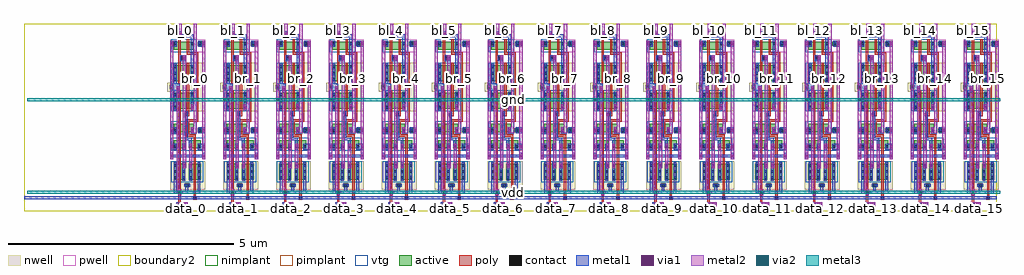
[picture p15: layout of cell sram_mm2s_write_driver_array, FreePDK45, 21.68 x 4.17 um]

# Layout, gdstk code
import gdstk
lib = gdstk.Library(unit=1e-6, precision=5e-10)
def R(c, l, rs):  # rectangles x0, y0, x1, y1
    for r in rs: c.add(gdstk.rectangle(r[:2], r[2:], *l))
def A(c, l, x, y, w, h, nx, ny, dx, dy):  # array of equal rectangles
    R(c, l, [(x+i*dx, y+j*dy, x+i*dx+w, y+j*dy+h) for i in range(nx) for j in range(ny)])
active = (1, 0)
pwell = (2, 0)
nwell = (3, 0)
nimplant = (4, 0)
pimplant = (5, 0)
vtg = (6, 0)
poly = (9, 0)
contact = (10, 0)
metal1 = (11, 0)
via1 = (12, 0)
metal2 = (13, 0)
via2 = (14, 0)
metal3 = (15, 0)
boundary2 = (239, 0)

write_driver = lib.new_cell('write_driver')
R(write_driver, active, [(0.2925,0.535,0.3825,0.625), (0.04,0.705,0.115,1.065), (0.04,0.705,0.115,1.065), (0.04,0.705,0.3,1.065), (0.225,0.705,0.3,1.065), (0.225,0.705,0.3,1.065), (0.38,0.705,0.455,1.065), (0.38,0.705,0.455,1.065), (0.38,0.705,0.64,1.065), (0.565,0.705,0.64,1.065), (0.565,0.705,0.64,1.065), (0.04,0.71,0.115,1.065), (0.225,0.71,0.3,1.065), (0.38,0.71,0.455,1.065), (0.565,0.71,0.64,1.065), (0.04,1.4,0.115,1.58), (0.04,1.4,0.115,1.58), (0.04,1.4,0.3,1.58), (0.04,1.4,0.115,1.475), (0.225,1.4,0.3,1.58), (0.225,1.4,0.3,1.58), (0.225,1.4,0.3,1.475), (0.38,1.4,0.455,1.58), (0.38,1.4,0.455,1.58), (0.38,1.4,0.64,1.58), (0.38,1.4,0.455,1.475), (0.565,1.4,0.64,1.58), (0.565,1.4,0.64,1.58), (0.565,1.4,0.64,1.475), (0.5725,1.7575,0.6625,1.8475), (0.04,1.765,0.115,1.945), (0.04,1.765,0.115,1.945), (0.04,1.765,0.115,1.84), (0.04,1.765,0.49,1.945), (0.1975,1.765,0.3375,1.945), (0.415,1.765,0.49,1.945), (0.415,1.765,0.49,1.945), (0.415,1.765,0.49,1.84), (0.04,2.28,0.115,2.64), (0.04,2.28,0.115,2.64), (0.04,2.28,0.115,2.635), (0.04,2.28,0.49,2.64), (0.1975,2.28,0.3375,2.64), (0.415,2.28,0.49,2.64), (0.415,2.28,0.49,2.64), (0.415,2.28,0.49,2.635), (-0.045,2.72,0.045,2.81), (0.04,2.8925,0.115,3.2525), (0.04,2.8925,0.115,3.2525), (0.04,2.8925,0.49,3.2525), (0.1925,2.8925,0.3325,3.2525), (0.415,2.8925,0.49,3.2525), (0.415,2.8925,0.49,3.2525), (0.04,2.8975,0.115,3.2525), (0.415,2.8975,0.49,3.2525), (0.04,3.5875,0.115,3.7675), (0.04,3.5875,0.115,3.7675), (0.04,3.5875,0.49,3.7675), (0.1925,3.5875,0.3325,3.7675), (0.415,3.5875,0.49,3.7675), (0.415,3.5875,0.49,3.7675), (0.575,3.685,0.665,3.775), (0.04,3.6925,0.115,3.7675), (0.415,3.6925,0.49,3.7675)])
R(write_driver, pwell, [(-0.035,1.345,0.74,2), (-0.015,1.345,0.355,1.635), (0.325,1.345,0.695,1.635), (0.5175,1.7025,0.7175,1.9025), (-0.015,1.71,0.545,2), (-0.035,3.5325,0.74,3.83), (-0.015,3.5325,0.545,3.8225), (0.52,3.63,0.72,3.83)])
R(write_driver, nwell, [(-0.035,0.48,0.74,1.12), (0.2375,0.48,0.4375,0.68), (-0.015,0.65,0.355,1.12), (0.325,0.65,0.695,1.12), (-0.035,2.225,0.74,3.3), (-0.015,2.225,0.545,2.695), (-0.1,2.665,0.1,2.865), (-0.015,2.8375,0.545,3.3075)])
R(write_driver, nimplant, [(0.2925,0.535,0.3825,0.625), (0.04,1.4,0.3,1.58), (0.38,1.4,0.64,1.58), (0.04,1.765,0.49,1.945), (-0.045,2.72,0.045,2.81), (0.04,3.5875,0.49,3.7675)])
R(write_driver, pimplant, [(0.04,0.705,0.3,1.065), (0.38,0.705,0.64,1.065), (0.5725,1.7575,0.6625,1.8475), (0.04,2.28,0.49,2.64), (0.04,2.8925,0.49,3.2525), (0.575,3.685,0.665,3.775)])
R(write_driver, vtg, [(-0.015,0.65,0.355,1.12), (0.325,0.65,0.695,1.12), (-0.015,1.345,0.355,1.635), (0.325,1.345,0.695,1.635), (-0.015,1.71,0.545,2), (-0.015,2.225,0.545,2.695), (-0.015,2.8375,0.545,3.3075), (-0.015,3.5325,0.545,3.8225)])
R(write_driver, poly, [(0.1325,0.1325,0.2075,0.2075), (0.145,0.1375,0.195,0.65), (0.4725,0.2625,0.5475,0.3375), (0.485,0.2675,0.535,0.65), (0.145,0.65,0.195,0.705), (0.145,0.65,0.195,1.12), (0.485,0.65,0.535,0.705), (0.485,0.65,0.535,1.12), (0.145,1.065,0.195,1.12), (0.485,1.065,0.535,1.12), (0.145,1.12,0.195,1.345), (0.485,1.12,0.535,1.345), (0.145,1.345,0.195,1.635), (0.145,1.345,0.195,1.4), (0.485,1.345,0.535,1.635), (0.485,1.345,0.535,1.4), (0.145,1.58,0.195,1.635), (0.485,1.58,0.535,1.635), (0.145,1.635,0.195,1.71), (0.485,1.635,0.535,1.66), (0.335,1.66,0.535,1.71), (0.145,1.71,0.195,2), (0.145,1.71,0.195,1.765), (0.335,1.71,0.385,2), (0.335,1.71,0.385,1.765), (0.145,1.945,0.195,2), (0.335,1.945,0.385,2), (0.335,1.995,0.59,2.045), (0.54,1.995,0.59,3.4825), (0.145,2,0.195,2.225), (0.2775,2.12,0.3525,2.195), (0.335,2.12,0.385,2.225), (0.145,2.225,0.195,2.28), (0.145,2.225,0.195,2.695), (0.335,2.225,0.385,2.28), (0.335,2.225,0.385,2.695), (0.145,2.64,0.195,2.695), (0.335,2.64,0.385,2.695), (0.335,2.695,0.385,2.8375), (0.145,2.8375,0.195,2.8925), (0.145,2.8375,0.195,3.3075), (0.335,2.8375,0.385,2.8925), (0.335,2.8375,0.385,3.3075), (0.145,3.2525,0.195,3.3075), (0.335,3.2525,0.385,3.3075), (0.145,3.3075,0.195,3.5325), (0.18,3.37,0.255,3.445), (0.335,3.4825,0.59,3.5325), (0.145,3.5325,0.195,3.8225), (0.145,3.5325,0.195,3.5875), (0.335,3.5325,0.385,3.8225), (0.335,3.5325,0.385,3.5875), (0.145,3.7675,0.195,3.8225), (0.335,3.7675,0.385,3.8225)])
A(write_driver, contact, 0.045, 0.715, 0.065, 0.065, 1, 3, 0, 0.14)
A(write_driver, contact, 0.23, 0.715, 0.065, 0.065, 1, 3, 0, 0.14)
A(write_driver, contact, 0.385, 0.715, 0.065, 0.065, 1, 3, 0, 0.14)
A(write_driver, contact, 0.57, 0.715, 0.065, 0.065, 1, 3, 0, 0.14)
A(write_driver, contact, 0.045, 2.285, 0.065, 0.065, 1, 3, 0, 0.14)
A(write_driver, contact, 0.42, 2.285, 0.065, 0.065, 1, 3, 0, 0.14)
A(write_driver, contact, 0.045, 2.9025, 0.065, 0.065, 1, 3, 0, 0.14)
A(write_driver, contact, 0.42, 2.9025, 0.065, 0.065, 1, 3, 0, 0.14)
R(write_driver, contact, [(0.1375,0.1375,0.2025,0.2025), (0.4775,0.2675,0.5425,0.3325), (0.305,0.5475,0.37,0.6125), (0.045,1.405,0.11,1.47), (0.23,1.405,0.295,1.47), (0.385,1.405,0.45,1.47), (0.57,1.405,0.635,1.47), (0.045,1.77,0.11,1.835), (0.42,1.77,0.485,1.835), (0.585,1.77,0.65,1.835), (0.2825,2.125,0.3475,2.19), (-0.0325,2.7325,0.0325,2.7975), (0.185,3.375,0.25,3.44), (0.045,3.6975,0.11,3.7625), (0.42,3.6975,0.485,3.7625), (0.5875,3.6975,0.6525,3.7625)])
R(write_driver, metal1, [(0.2075,0.135,0.3425,0.2), (0.1025,0.1375,0.2375,0.2025), (0.045,0.2675,0.635,0.3325), (0.045,0.2675,0.635,0.3325), (0.045,0.3975,0.635,0.4625), (0.105,0.3975,0.24,0.4625), (0.045,0.4625,0.11,0.68), (0.3025,0.4625,0.3675,0.6125), (0.57,0.4625,0.635,0.68), (0.27,0.5475,0.405,0.6125), (0.045,0.68,0.11,1.095), (0.23,0.68,0.295,1.095), (0.385,0.68,0.45,1.095), (0.57,0.68,0.635,1.095), (0.2475,0.96,0.3125,1.095), (0.3875,0.96,0.4525,1.095), (-0.0325,1.165,0.0325,1.3), (0.6725,1.165,0.7375,1.3), (-0.035,1.2,0.74,1.265), (-0.0325,1.37,0.0325,1.505), (0.0275,1.37,0.04,1.505), (0.035,1.37,0.045,1.505), (0.045,1.37,0.11,1.505), (0.23,1.37,0.295,1.505), (0.2475,1.37,0.3125,1.505), (0.385,1.37,0.45,1.505), (0.3875,1.37,0.4525,1.505), (0.57,1.37,0.635,1.505), (0.63,1.37,0.6725,1.505), (0.6725,1.37,0.7375,1.505), (0.38,1.4525,0.445,1.5775), (0.2825,1.5775,0.3475,2.175), (0.2825,1.5775,0.445,1.6425), (-0.0325,1.735,0.0325,1.87), (0.0275,1.735,0.04,1.87), (0.035,1.735,0.045,1.87), (0.045,1.735,0.11,1.87), (0.4175,1.735,0.4825,1.87), (0.42,1.735,0.485,1.87), (0.585,1.735,0.65,1.87), (0.65,1.735,0.6725,1.87), (0.6725,1.735,0.7375,1.87), (0.2825,2.09,0.3475,2.225), (0.045,2.25,0.11,2.665), (0.4175,2.25,0.4825,2.385), (0.42,2.25,0.485,2.665), (0.095,2.65,0.11,2.785), (0.1075,2.65,0.1725,2.785), (0.045,2.665,0.11,2.8675), (-0.0325,2.6975,0.0325,2.8325), (0.0325,2.6975,0.175,2.8325), (0.045,2.8675,0.11,3.2825), (0.42,2.8675,0.485,3.2825), (0.42,3.2825,0.485,3.6625), (0.185,3.34,0.25,3.475), (0.2475,3.34,0.3125,3.475), (-0.0325,3.6625,0.0325,3.7975), (0.0275,3.6625,0.04,3.7975), (0.035,3.6625,0.045,3.7975), (0.045,3.6625,0.11,3.7975), (0.42,3.6625,0.485,3.7975), (0.5875,3.6625,0.6525,3.7975), (0.6525,3.6625,0.6725,3.7975), (0.6725,3.6625,0.7375,3.7975), (0.42,3.7975,0.485,3.8725), (0.15,3.8725,0.485,3.9375), (0.1525,3.8725,0.2175,4.0075)])
R(write_driver, via1, [(0.2425,0.135,0.3075,0.2), (0.14,0.3975,0.205,0.4625), (0.2475,0.995,0.3125,1.06), (0.3875,0.995,0.4525,1.06), (-0.0325,1.2,0.0325,1.265), (0.6725,1.2,0.7375,1.265), (-0.0325,1.405,0.0325,1.47), (0.2475,1.405,0.3125,1.47), (0.3875,1.405,0.4525,1.47), (0.6725,1.405,0.7375,1.47), (-0.0325,1.77,0.0325,1.835), (0.4175,1.77,0.4825,1.835), (0.6725,1.77,0.7375,1.835), (0.4175,2.285,0.4825,2.35), (0.1075,2.685,0.1725,2.75), (0.2475,3.375,0.3125,3.44), (-0.0325,3.6975,0.0325,3.7625), (0.6725,3.6975,0.7375,3.7625), (0.1525,3.9075,0.2175,3.9725)])
R(write_driver, metal2, [(0.28,0,0.35,0.14), (0.28,0,0.35,0.14), (0.1575,0.1325,0.35,0.2025), (0.2075,0.1325,0.3425,0.2025), (0.105,0.395,0.24,0.465), (0.105,0.395,0.24,0.465), (0.105,0.465,0.175,2.785), (0.245,0.96,0.315,1.095), (0.385,0.96,0.455,1.095), (0.245,1.095,0.315,1.37), (0.385,1.095,0.455,1.37), (-0.035,1.1625,0.035,3.7975), (-0.035,1.1625,0.035,3.7975), (-0.035,1.165,0.035,1.3), (0.67,1.165,0.74,3.7975), (0.67,1.165,0.74,1.3), (-0.035,1.37,0.035,1.505), (0.245,1.37,0.315,3.4675), (0.245,1.37,0.315,1.505), (0.385,1.37,0.455,1.505), (0.67,1.37,0.74,1.505), (-0.035,1.735,0.035,1.87), (0.415,1.735,0.485,1.87), (0.485,1.735,0.555,4.175), (0.485,1.735,0.555,4.175), (0.67,1.735,0.74,1.87), (0.415,2.25,0.485,2.385), (0.105,2.65,0.175,2.785), (0.245,3.34,0.315,3.475), (-0.035,3.6625,0.035,3.7975), (0.67,3.6625,0.74,3.7975), (0.15,3.8725,0.22,4.0075), (0.15,3.875,0.22,4.175), (0.15,3.875,0.22,4.175)])
R(write_driver, boundary2, [(0,0,0.705,4.175)])
write_driver.add(gdstk.Label('en', (0.3325,0.3), layer=11, texttype=0))
write_driver.add(gdstk.Label('din', (0.32,0.035), layer=13, texttype=0))
write_driver.add(gdstk.Label('vdd', (0.1725,0.4325), layer=13, texttype=0))
write_driver.add(gdstk.Label('br', (0.52,4.15), layer=13, texttype=0))
write_driver.add(gdstk.Label('bl', (0.19,4.138), layer=13, texttype=0))
write_driver.add(gdstk.Label('gnd', (-0.005,1.57), layer=13, texttype=0))
write_driver.add(gdstk.Label('din', (0.315,0.07), layer=13, texttype=0))
write_driver.add(gdstk.Label('bl', (0.185,4.025), layer=13, texttype=0))
write_driver.add(gdstk.Label('br', (0.52,2.955), layer=13, texttype=0))
write_driver.add(gdstk.Label('en', (0.34,0.3), layer=11, texttype=0))
write_driver.add(gdstk.Label('vdd', (0.1725,0.43), layer=13, texttype=0))
write_driver.add(gdstk.Label('gnd', (0,2.48), layer=13, texttype=0))

sram_mm2s_contact_18 = lib.new_cell('sram_mm2s_contact_18')
R(sram_mm2s_contact_18, metal2, [(0.0325,0,0.1025,0.135)])
R(sram_mm2s_contact_18, via2, [(0.035,0.035,0.1,0.1)])
R(sram_mm2s_contact_18, metal3, [(0,0.0325,0.135,0.1025)])
R(sram_mm2s_contact_18, boundary2, [(0,0,0.135,0.135)])

sram_mm2s_write_driver_a = lib.new_cell('sram_mm2s_write_driver_array')
R(sram_mm2s_write_driver_a, metal1, [(0,0.2675,21.615,0.3325)])
A(sram_mm2s_write_driver_a, metal2, 3.565, 0, 0.07, 0.14, 16, 1, 1.175, 0)
A(sram_mm2s_write_driver_a, metal2, 3.77, 1.735, 0.07, 2.44, 16, 1, 1.175, 0)
A(sram_mm2s_write_driver_a, metal2, 3.435, 3.875, 0.07, 0.3, 16, 1, 1.175, 0)
R(sram_mm2s_write_driver_a, metal3, [(0.0675,0.395,21.6825,0.465), (0.0675,2.445,21.6825,2.515)])
R(sram_mm2s_write_driver_a, boundary2, [(0,0,21.615,4.175)])
sram_mm2s_write_driver_a.add(gdstk.Reference(write_driver, (3.285,0)))
sram_mm2s_write_driver_a.add(gdstk.Reference(write_driver, (4.46,0)))
sram_mm2s_write_driver_a.add(gdstk.Reference(write_driver, (5.635,0)))
sram_mm2s_write_driver_a.add(gdstk.Reference(write_driver, (6.81,0)))
sram_mm2s_write_driver_a.add(gdstk.Reference(write_driver, (7.985,0)))
sram_mm2s_write_driver_a.add(gdstk.Reference(write_driver, (9.16,0)))
sram_mm2s_write_driver_a.add(gdstk.Reference(write_driver, (10.335,0)))
sram_mm2s_write_driver_a.add(gdstk.Reference(write_driver, (11.51,0)))
sram_mm2s_write_driver_a.add(gdstk.Reference(write_driver, (12.685,0)))
sram_mm2s_write_driver_a.add(gdstk.Reference(write_driver, (13.86,0)))
sram_mm2s_write_driver_a.add(gdstk.Reference(write_driver, (15.035,0)))
sram_mm2s_write_driver_a.add(gdstk.Reference(write_driver, (16.21,0)))
sram_mm2s_write_driver_a.add(gdstk.Reference(write_driver, (17.385,0)))
sram_mm2s_write_driver_a.add(gdstk.Reference(write_driver, (18.56,0)))
sram_mm2s_write_driver_a.add(gdstk.Reference(write_driver, (19.735,0)))
sram_mm2s_write_driver_a.add(gdstk.Reference(write_driver, (20.91,0)))
sram_mm2s_write_driver_a.add(gdstk.Reference(sram_mm2s_contact_18, (3.39,0.3625)))
sram_mm2s_write_driver_a.add(gdstk.Reference(sram_mm2s_contact_18, (4.565,0.3625)))
sram_mm2s_write_driver_a.add(gdstk.Reference(sram_mm2s_contact_18, (5.74,0.3625)))
sram_mm2s_write_driver_a.add(gdstk.Reference(sram_mm2s_contact_18, (6.915,0.3625)))
sram_mm2s_write_driver_a.add(gdstk.Reference(sram_mm2s_contact_18, (8.09,0.3625)))
sram_mm2s_write_driver_a.add(gdstk.Reference(sram_mm2s_contact_18, (9.265,0.3625)))
sram_mm2s_write_driver_a.add(gdstk.Reference(sram_mm2s_contact_18, (10.44,0.3625)))
sram_mm2s_write_driver_a.add(gdstk.Reference(sram_mm2s_contact_18, (11.615,0.3625)))
sram_mm2s_write_driver_a.add(gdstk.Reference(sram_mm2s_contact_18, (12.79,0.3625)))
sram_mm2s_write_driver_a.add(gdstk.Reference(sram_mm2s_contact_18, (13.965,0.3625)))
sram_mm2s_write_driver_a.add(gdstk.Reference(sram_mm2s_contact_18, (15.14,0.3625)))
sram_mm2s_write_driver_a.add(gdstk.Reference(sram_mm2s_contact_18, (16.315,0.3625)))
sram_mm2s_write_driver_a.add(gdstk.Reference(sram_mm2s_contact_18, (17.49,0.3625)))
sram_mm2s_write_driver_a.add(gdstk.Reference(sram_mm2s_contact_18, (18.665,0.3625)))
sram_mm2s_write_driver_a.add(gdstk.Reference(sram_mm2s_contact_18, (19.84,0.3625)))
sram_mm2s_write_driver_a.add(gdstk.Reference(sram_mm2s_contact_18, (21.015,0.3625)))
sram_mm2s_write_driver_a.add(gdstk.Reference(sram_mm2s_contact_18, (3.2175,2.4125)))
sram_mm2s_write_driver_a.add(gdstk.Reference(sram_mm2s_contact_18, (4.3925,2.4125)))
sram_mm2s_write_driver_a.add(gdstk.Reference(sram_mm2s_contact_18, (5.5675,2.4125)))
sram_mm2s_write_driver_a.add(gdstk.Reference(sram_mm2s_contact_18, (6.7425,2.4125)))
sram_mm2s_write_driver_a.add(gdstk.Reference(sram_mm2s_contact_18, (7.9175,2.4125)))
sram_mm2s_write_driver_a.add(gdstk.Reference(sram_mm2s_contact_18, (9.0925,2.4125)))
sram_mm2s_write_driver_a.add(gdstk.Reference(sram_mm2s_contact_18, (10.2675,2.4125)))
sram_mm2s_write_driver_a.add(gdstk.Reference(sram_mm2s_contact_18, (11.4425,2.4125)))
sram_mm2s_write_driver_a.add(gdstk.Reference(sram_mm2s_contact_18, (12.6175,2.4125)))
sram_mm2s_write_driver_a.add(gdstk.Reference(sram_mm2s_contact_18, (13.7925,2.4125)))
sram_mm2s_write_driver_a.add(gdstk.Reference(sram_mm2s_contact_18, (14.9675,2.4125)))
sram_mm2s_write_driver_a.add(gdstk.Reference(sram_mm2s_contact_18, (16.1425,2.4125)))
sram_mm2s_write_driver_a.add(gdstk.Reference(sram_mm2s_contact_18, (17.3175,2.4125)))
sram_mm2s_write_driver_a.add(gdstk.Reference(sram_mm2s_contact_18, (18.4925,2.4125)))
sram_mm2s_write_driver_a.add(gdstk.Reference(sram_mm2s_contact_18, (19.6675,2.4125)))
sram_mm2s_write_driver_a.add(gdstk.Reference(sram_mm2s_contact_18, (20.8425,2.4125)))
sram_mm2s_write_driver_a.add(gdstk.Label('data_0', (3.6,0.07), layer=13, texttype=0))
sram_mm2s_write_driver_a.add(gdstk.Label('bl_0', (3.47,4.025), layer=13, texttype=0))
sram_mm2s_write_driver_a.add(gdstk.Label('br_0', (3.805,2.955), layer=13, texttype=0))
sram_mm2s_write_driver_a.add(gdstk.Label('data_1', (4.775,0.07), layer=13, texttype=0))
sram_mm2s_write_driver_a.add(gdstk.Label('bl_1', (4.645,4.025), layer=13, texttype=0))
sram_mm2s_write_driver_a.add(gdstk.Label('br_1', (4.98,2.955), layer=13, texttype=0))
sram_mm2s_write_driver_a.add(gdstk.Label('data_2', (5.95,0.07), layer=13, texttype=0))
sram_mm2s_write_driver_a.add(gdstk.Label('bl_2', (5.82,4.025), layer=13, texttype=0))
sram_mm2s_write_driver_a.add(gdstk.Label('br_2', (6.155,2.955), layer=13, texttype=0))
sram_mm2s_write_driver_a.add(gdstk.Label('data_3', (7.125,0.07), layer=13, texttype=0))
sram_mm2s_write_driver_a.add(gdstk.Label('bl_3', (6.995,4.025), layer=13, texttype=0))
sram_mm2s_write_driver_a.add(gdstk.Label('br_3', (7.33,2.955), layer=13, texttype=0))
sram_mm2s_write_driver_a.add(gdstk.Label('data_4', (8.3,0.07), layer=13, texttype=0))
sram_mm2s_write_driver_a.add(gdstk.Label('bl_4', (8.17,4.025), layer=13, texttype=0))
sram_mm2s_write_driver_a.add(gdstk.Label('br_4', (8.505,2.955), layer=13, texttype=0))
sram_mm2s_write_driver_a.add(gdstk.Label('data_5', (9.475,0.07), layer=13, texttype=0))
sram_mm2s_write_driver_a.add(gdstk.Label('bl_5', (9.345,4.025), layer=13, texttype=0))
sram_mm2s_write_driver_a.add(gdstk.Label('br_5', (9.68,2.955), layer=13, texttype=0))
sram_mm2s_write_driver_a.add(gdstk.Label('data_6', (10.65,0.07), layer=13, texttype=0))
sram_mm2s_write_driver_a.add(gdstk.Label('bl_6', (10.52,4.025), layer=13, texttype=0))
sram_mm2s_write_driver_a.add(gdstk.Label('br_6', (10.855,2.955), layer=13, texttype=0))
sram_mm2s_write_driver_a.add(gdstk.Label('data_7', (11.825,0.07), layer=13, texttype=0))
sram_mm2s_write_driver_a.add(gdstk.Label('bl_7', (11.695,4.025), layer=13, texttype=0))
sram_mm2s_write_driver_a.add(gdstk.Label('br_7', (12.03,2.955), layer=13, texttype=0))
sram_mm2s_write_driver_a.add(gdstk.Label('data_8', (13,0.07), layer=13, texttype=0))
sram_mm2s_write_driver_a.add(gdstk.Label('bl_8', (12.87,4.025), layer=13, texttype=0))
sram_mm2s_write_driver_a.add(gdstk.Label('br_8', (13.205,2.955), layer=13, texttype=0))
sram_mm2s_write_driver_a.add(gdstk.Label('data_9', (14.175,0.07), layer=13, texttype=0))
sram_mm2s_write_driver_a.add(gdstk.Label('bl_9', (14.045,4.025), layer=13, texttype=0))
sram_mm2s_write_driver_a.add(gdstk.Label('br_9', (14.38,2.955), layer=13, texttype=0))
sram_mm2s_write_driver_a.add(gdstk.Label('data_10', (15.35,0.07), layer=13, texttype=0))
sram_mm2s_write_driver_a.add(gdstk.Label('bl_10', (15.22,4.025), layer=13, texttype=0))
sram_mm2s_write_driver_a.add(gdstk.Label('br_10', (15.555,2.955), layer=13, texttype=0))
sram_mm2s_write_driver_a.add(gdstk.Label('data_11', (16.525,0.07), layer=13, texttype=0))
sram_mm2s_write_driver_a.add(gdstk.Label('bl_11', (16.395,4.025), layer=13, texttype=0))
sram_mm2s_write_driver_a.add(gdstk.Label('br_11', (16.73,2.955), layer=13, texttype=0))
sram_mm2s_write_driver_a.add(gdstk.Label('data_12', (17.7,0.07), layer=13, texttype=0))
sram_mm2s_write_driver_a.add(gdstk.Label('bl_12', (17.57,4.025), layer=13, texttype=0))
sram_mm2s_write_driver_a.add(gdstk.Label('br_12', (17.905,2.955), layer=13, texttype=0))
sram_mm2s_write_driver_a.add(gdstk.Label('data_13', (18.875,0.07), layer=13, texttype=0))
sram_mm2s_write_driver_a.add(gdstk.Label('bl_13', (18.745,4.025), layer=13, texttype=0))
sram_mm2s_write_driver_a.add(gdstk.Label('br_13', (19.08,2.955), layer=13, texttype=0))
sram_mm2s_write_driver_a.add(gdstk.Label('data_14', (20.05,0.07), layer=13, texttype=0))
sram_mm2s_write_driver_a.add(gdstk.Label('bl_14', (19.92,4.025), layer=13, texttype=0))
sram_mm2s_write_driver_a.add(gdstk.Label('br_14', (20.255,2.955), layer=13, texttype=0))
sram_mm2s_write_driver_a.add(gdstk.Label('data_15', (21.225,0.07), layer=13, texttype=0))
sram_mm2s_write_driver_a.add(gdstk.Label('bl_15', (21.095,4.025), layer=13, texttype=0))
sram_mm2s_write_driver_a.add(gdstk.Label('br_15', (21.43,2.955), layer=13, texttype=0))
sram_mm2s_write_driver_a.add(gdstk.Label('en', (10.8075,0.3), layer=11, texttype=0))
sram_mm2s_write_driver_a.add(gdstk.Label('vdd', (10.875,0.43), layer=15, texttype=0))
sram_mm2s_write_driver_a.add(gdstk.Label('gnd', (10.875,2.48), layer=15, texttype=0))

lib.write_gds('sram_mm2s_write_driver_array.gds')
